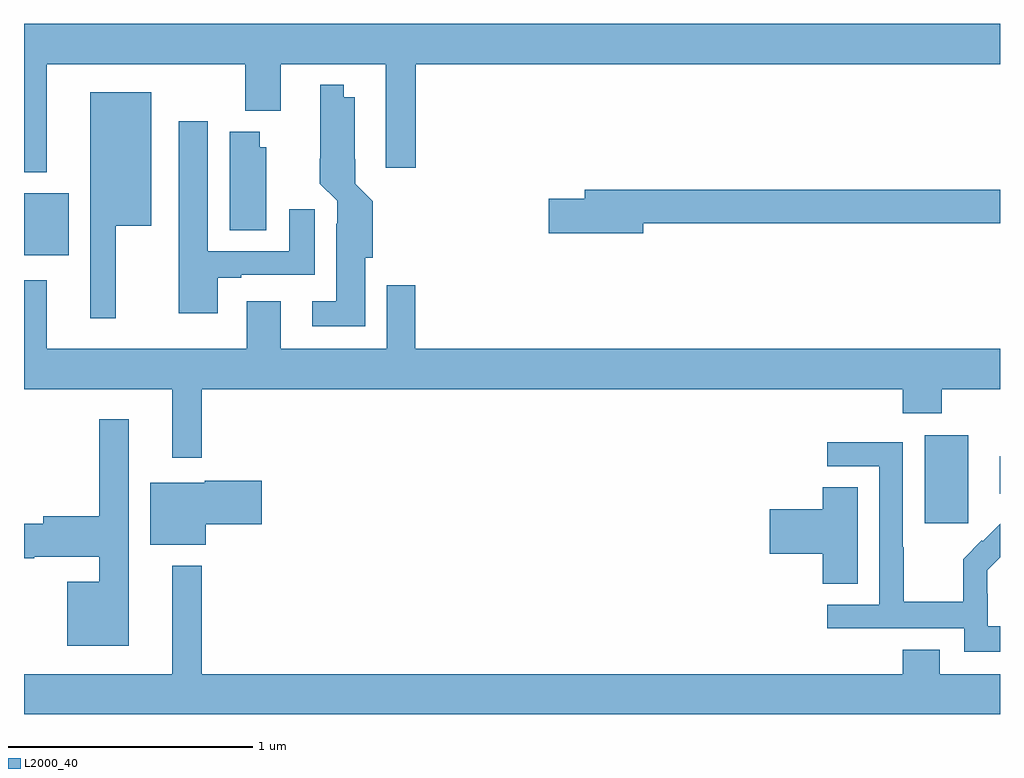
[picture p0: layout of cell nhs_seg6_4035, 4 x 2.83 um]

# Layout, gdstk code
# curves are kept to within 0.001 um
import gdstk
lib = gdstk.Library(unit=1e-6, precision=1e-09)
def R(c, l, rs):  # rectangles x0, y0, x1, y1
    for r in rs: c.add(gdstk.rectangle(r[:2], r[2:], *l))
def P(c, l, *ps):  # polygons
    for p in ps: c.add(gdstk.Polygon(p, *l))
L2000_40 = (2000, 40)

nhs_seg6_4035 = lib.new_cell('nhs_seg6_4035')
R(nhs_seg6_4035, L2000_40, [(352.691,957.441,352.87,957.802), (352.998,957.562,353,957.716), (349,958.541,349.183,958.795)])
P(nhs_seg6_4035, L2000_40, [(349.093,959.324),(349.906,959.324),(349.906,959.132),(350.053,959.132),(350.053,959.324),(350.483,959.324),(350.483,958.899),(350.606,958.899),(350.606,959.324),(353,959.324),(353,959.488),(349,959.488),(349,958.88),(349.093,958.88)],
  [(350.398,958.53),(350.429,958.53),(350.429,958.762),(350.357,958.834),(350.356,959.188),(350.311,959.188),(350.311,959.239),(350.214,959.239),(350.213,958.834),(350.283,958.764),(350.283,958.67),(350.279,958.67),(350.279,958.351),(350.181,958.351),(350.181,958.25),(350.398,958.25)],
  [(349.375,958.661),(349.522,958.661),(349.522,959.209),(349.271,959.209),(349.271,958.281),(349.375,958.281)],
  [(349.795,958.449),(349.891,958.449),(349.891,958.461),(350.191,958.461),(350.191,958.729),(350.087,958.729),(350.087,958.557),(349.753,958.557),(349.753,959.089),(349.634,959.089),(349.634,958.302),(349.795,958.302)],
  [(349.993,958.983),(349.966,958.983),(349.966,959.047),(349.844,959.047),(349.844,958.642),(349.993,958.642)],
  [(351.538,958.672),(353,958.672),(353,958.808),(351.299,958.808),(351.299,958.772),(351.15,958.772),(351.15,958.63),(351.538,958.63)],
  [(349.729,957.992),(352.601,957.992),(352.601,957.893),(352.761,957.893),(352.761,957.992),(353,957.992),(353,958.156),(350.603,958.156),(350.603,958.417),(350.487,958.417),(350.487,958.156),(350.053,958.156),(350.053,958.351),(349.913,958.351),(349.913,958.156),(349.093,958.156),(349.093,958.438),(349,958.438),(349,957.992),(349.607,957.992),(349.607,957.711),(349.729,957.711)],
  [(349.429,957.868),(349.308,957.868),(349.308,957.47),(349.079,957.47),(349.079,957.44),(349,957.44),(349,957.298),(349.042,957.298),(349.042,957.305),(349.308,957.305),(349.308,957.202),(349.178,957.202),(349.178,956.939),(349.429,956.939)],
  [(353,957.019),(352.95,957.019),(352.95,957.153),(352.948,957.153),(352.948,957.25),(353,957.302),(353,957.44),(352.929,957.369),(352.926,957.372),(352.849,957.295),(352.849,957.121),(352.605,957.121),(352.605,957.344),(352.602,957.344),(352.602,957.774),(352.293,957.774),(352.293,957.675),(352.506,957.675),(352.506,957.108),(352.293,957.108),(352.293,957.012),(352.854,957.012),(352.854,956.915),(353,956.915)],
  [(349.744,957.437),(349.975,957.437),(349.975,957.615),(349.74,957.615),(349.74,957.607),(349.517,957.607),(349.517,957.353),(349.744,957.353)],
  [(352.417,957.59),(352.274,957.59),(352.274,957.5),(352.056,957.5),(352.056,957.317),(352.274,957.317),(352.274,957.193),(352.417,957.193)],
  [(353,956.824),(352.753,956.824),(352.753,956.923),(352.601,956.923),(352.601,956.824),(349.729,956.824),(349.729,957.268),(349.607,957.268),(349.607,956.824),(349,956.824),(349,956.66),(353,956.66)])

lib.write_gds('nhs_seg6_4035.gds')
